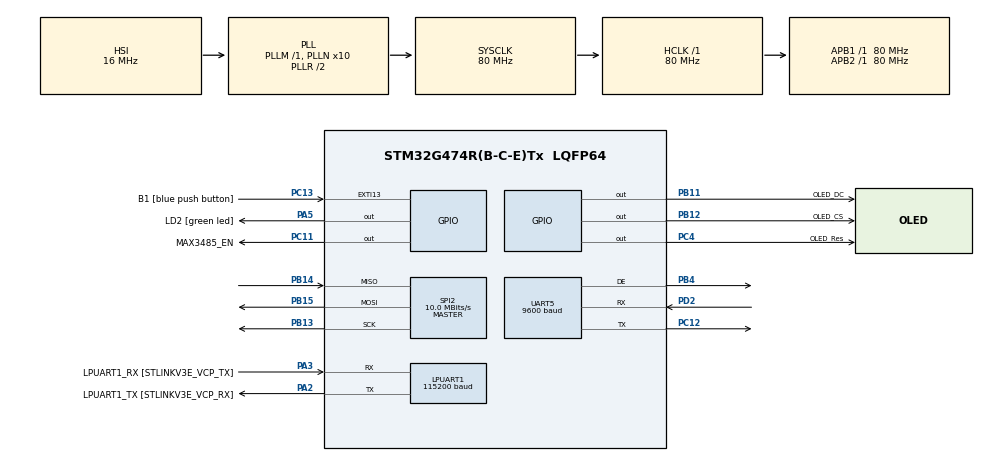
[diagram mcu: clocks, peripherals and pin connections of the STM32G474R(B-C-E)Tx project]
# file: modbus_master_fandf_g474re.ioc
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CRC.CRCLength=CRC_POLYLENGTH_16B
CRC.DefaultInitValueUse=DEFAULT_INIT_VALUE_ENABLE
CRC.DefaultPolynomialUse=DEFAULT_POLYNOMIAL_DISABLE
CRC.GeneratingPolynomial=X15+X2+X0
CRC.InputDataFormat=CRC_INPUTDATA_FORMAT_BYTES
CRC.InputDataInversionMode=CRC_INPUTDATA_INVERSION_BYTE
CRC.OutputDataInversionMode=CRC_OUTPUTDATA_INVERSION_ENABLE
LPUART1.BaudRate=115200
LPUART1.WordLength=UART_WORDLENGTH_8B
Mcu.Family=STM32G4
Mcu.Name=STM32G474R(B-C-E)Tx
Mcu.Package=LQFP64
NVIC.EXTI15_10_IRQn=true\:0\:0\:false\:false\:true\:true\:true\:true
NVIC.PriorityGroup=NVIC_PRIORITYGROUP_4
NVIC.UART5_IRQn=true\:0\:0\:false\:false\:true\:true\:true\:true
PA13.GPIO_Label=T_SWDIO
PA13.Mode=Serial_Wire
PA13.Signal=SYS_JTMS-SWDIO
PA14.GPIO_Label=T_SWCLK
PA14.Mode=Serial_Wire
PA14.Signal=SYS_JTCK-SWCLK
PA2.GPIO_Label=LPUART1_TX [STLINKV3E_VCP_RX]
PA2.Mode=Asynchronous
PA2.Signal=LPUART1_TX
PA3.GPIO_Label=LPUART1_RX [STLINKV3E_VCP_TX]
PA3.Mode=Asynchronous
PA3.Signal=LPUART1_RX
PA5.GPIO_Label=LD2 [green led]
PA5.Signal=GPIO_Output
PB11.GPIO_Label=OLED_DC
PB11.Signal=GPIO_Output
PB12.GPIO_Label=OLED_CS
PB12.Signal=GPIO_Output
PB13.Mode=Full_Duplex_Master
PB13.Signal=SPI2_SCK
PB14.Mode=Full_Duplex_Master
PB14.Signal=SPI2_MISO
PB15.Mode=Full_Duplex_Master
PB15.Signal=SPI2_MOSI
PB3.GPIO_Label=T_SWO
PB3.Signal=SYS_JTDO-SWO
PB4.Mode=Hardware Flow Control (RS485)
PB4.Signal=UART5_DE
PC11.GPIO_Label=MAX3485_EN
PC11.Signal=GPIO_Output
PC12.GPIO_ModeDefaultPP=GPIO_MODE_AF_PP
PC12.GPIO_PuPd=GPIO_PULLUP
PC12.Mode=Asynchronous
PC12.Signal=UART5_TX
PC13.GPIO_Label=B1 [blue push button]
PC13.Signal=GPXTI13
PC14-OSC32_IN.Mode=LSE-External-Oscillator
PC14-OSC32_IN.Signal=RCC_OSC32_IN
PC15-OSC32_OUT.Mode=LSE-External-Oscillator
PC15-OSC32_OUT.Signal=RCC_OSC32_OUT
PC4.GPIO_Label=OLED_Res
PC4.Signal=GPIO_Output
PD2.GPIO_PuPd=GPIO_PULLUP
PD2.Mode=Asynchronous
PD2.Signal=UART5_RX
PF0-OSC_IN.Mode=HSE-External-Oscillator
PF0-OSC_IN.Signal=RCC_OSC_IN
PF1-OSC_OUT.Mode=HSE-External-Oscillator
PF1-OSC_OUT.Signal=RCC_OSC_OUT
ProjectManager.HeapSize=0x200
ProjectManager.StackSize=0x400
ProjectManager.TargetToolchain=STM32CubeIDE
RCC.ADC12Freq_Value=80000000
RCC.ADC345Freq_Value=80000000
RCC.AHBFreq_Value=80000000
RCC.APB1Freq_Value=80000000
RCC.APB1TimFreq_Value=80000000
RCC.APB2Freq_Value=80000000
RCC.APB2TimFreq_Value=80000000
RCC.CortexFreq_Value=80000000
RCC.EXTERNAL_CLOCK_VALUE=12288000
RCC.HCLKFreq_Value=80000000
RCC.HSE_VALUE=24000000
RCC.HSI48_VALUE=48000000
RCC.HSI_VALUE=16000000
RCC.PLLN=10
RCC.RTCClockSelection=RCC_RTCCLKSOURCE_LSE
RCC.SYSCLKFreq_VALUE=80000000
RCC.SYSCLKSource=RCC_SYSCLKSOURCE_PLLCLK
RCC.USBFreq_Value=80000000
RCC.VCOOutputFreq_Value=160000000
SPI2.BaudRatePrescaler=SPI_BAUDRATEPRESCALER_8
SPI2.CalculateBaudRate=10.0 MBits/s
SPI2.DataSize=SPI_DATASIZE_8BIT
SPI2.Direction=SPI_DIRECTION_2LINES
SPI2.Mode=SPI_MODE_MASTER
SPI2.VirtualType=VM_MASTER
UART5.BaudRate=9600
VP_CRC_VS_CRC.Mode=CRC_Activate
VP_SYS_VS_DBSignals.Mode=DisableDeadBatterySignals
board=NUCLEO-G474RE

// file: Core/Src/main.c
/* USER CODE BEGIN Header */
/**
 ******************************************************************************
 * @file           : main.c
 * @brief          : Main program body
 ******************************************************************************
 * @attention
 *
 * Copyright (c) 2023 STMicroelectronics.
 * All rights reserved.
 *
 * This software is licensed under terms that can be found in the LICENSE file
 * in the root directory of this software component.
 * If no LICENSE file comes with this software, it is provided AS-IS.
 *
 ******************************************************************************
 */
/* USER CODE END Header */
#include "main.h"
#include "crc.h"
#include "usart.h"
#include "spi.h"
#include "gpio.h"

/* USER CODE BEGIN Includes */

#include <math.h>
#include "fandf_devices.h"

/* USER CODE END Includes */

/* USER CODE BEGIN PD */
#define ENERGY_COST 1.28  // PLN per kWh
#define OLED_UPDATE_PERIOD 1000

/* USER CODE END PD */

/* USER CODE BEGIN PV */

extern uint8_t energy_meter_heartbeat;
extern uint8_t meter_data_received_flag;
extern uint8_t led_data_confirmed_flag;

extern uint8_t RxData[32];

uint16_t EnergyData[3];
float total_energy;
float energy_cost = ENERGY_COST;
float total_cost;

uint32_t SoftTimerLCD;

/* USER CODE END PV */

void SystemClock_Config(void);

int main(void)
{

  /* MCU Configuration--------------------------------------------------------*/

  /* Reset of all peripherals, Initializes the Flash interface and the Systick. */
  HAL_Init();

  /* Configure the system clock */
  SystemClock_Config();

  /* Initialize all configured peripherals */
  MX_GPIO_Init();
  MX_LPUART1_UART_Init();
  MX_UART5_Init();
  MX_SPI2_Init();
  MX_CRC_Init();
  /* USER CODE BEGIN 2 */

	ssd1306_Init();

	AskLe01mForEnergyConsumption();

	SoftTimerLCD = HAL_GetTick();

  /* USER CODE END 2 */

  /* Infinite loop */
  /* USER CODE BEGIN WHILE */
	while (1)
	{

		if ((HAL_GetTick() - SoftTimerLCD) > OLED_UPDATE_PERIOD)
		{
			SoftTimerLCD = HAL_GetTick();

			if (1 == meter_data_received_flag)
			{
				meter_data_received_flag = 0;

				EnergyData[0] = RxData[3] << 8 | RxData[4];
				EnergyData[1] = RxData[5] << 8 | RxData[6];
				EnergyData[2] = RxData[7] << 8 | RxData[8];

				total_energy = ((float) (EnergyData[0] * 256 * 256
						+ EnergyData[1] * 256 + EnergyData[2])) / 100.0f;
				total_cost = -total_energy * energy_cost;

				energy_cost += 0.0001; // :(

				SendMrledtTotalCost(round(total_cost * 10.0) / 10.0);

				DisplayConsumptionAndCost(total_energy, total_cost);
			}
			else if (1 == led_data_confirmed_flag)
			{
				led_data_confirmed_flag = 0;

				AskLe01mForEnergyConsumption();
			}
			else
			{
				; // implement software watchdog for handling communication errors
			}
		}

    /* USER CODE END WHILE */

	}
}

void SystemClock_Config(void)
{
  RCC_OscInitTypeDef RCC_OscInitStruct = {0};
  RCC_ClkInitTypeDef RCC_ClkInitStruct = {0};

  /** Configure the main internal regulator output voltage
  */
  HAL_PWREx_ControlVoltageScaling(PWR_REGULATOR_VOLTAGE_SCALE1);

  /** Initializes the RCC Oscillators according to the specified parameters
  * in the RCC_OscInitTypeDef structure.
  */
  RCC_OscInitStruct.OscillatorType = RCC_OSCILLATORTYPE_HSI;
  RCC_OscInitStruct.HSIState = RCC_HSI_ON;
  RCC_OscInitStruct.HSICalibrationValue = RCC_HSICALIBRATION_DEFAULT;
  RCC_OscInitStruct.PLL.PLLState = RCC_PLL_ON;
  RCC_OscInitStruct.PLL.PLLSource = RCC_PLLSOURCE_HSI;
  RCC_OscInitStruct.PLL.PLLM = RCC_PLLM_DIV1;
  RCC_OscInitStruct.PLL.PLLN = 10;
  RCC_OscInitStruct.PLL.PLLP = RCC_PLLP_DIV2;
  RCC_OscInitStruct.PLL.PLLQ = RCC_PLLQ_DIV2;
  RCC_OscInitStruct.PLL.PLLR = RCC_PLLR_DIV2;
  if (HAL_RCC_OscConfig(&RCC_OscInitStruct) != HAL_OK)
  {
    Error_Handler();
  }

  /** Initializes the CPU, AHB and APB buses clocks
  */
  RCC_ClkInitStruct.ClockType = RCC_CLOCKTYPE_HCLK|RCC_CLOCKTYPE_SYSCLK
                              |RCC_CLOCKTYPE_PCLK1|RCC_CLOCKTYPE_PCLK2;
  RCC_ClkInitStruct.SYSCLKSource = RCC_SYSCLKSOURCE_PLLCLK;
  RCC_ClkInitStruct.AHBCLKDivider = RCC_SYSCLK_DIV1;
  RCC_ClkInitStruct.APB1CLKDivider = RCC_HCLK_DIV1;
  RCC_ClkInitStruct.APB2CLKDivider = RCC_HCLK_DIV1;

  if (HAL_RCC_ClockConfig(&RCC_ClkInitStruct, FLASH_LATENCY_2) != HAL_OK)
  {
    Error_Handler();
  }
}

void Error_Handler(void)
{
	__disable_irq();
	while (1)
	{
	}
}
